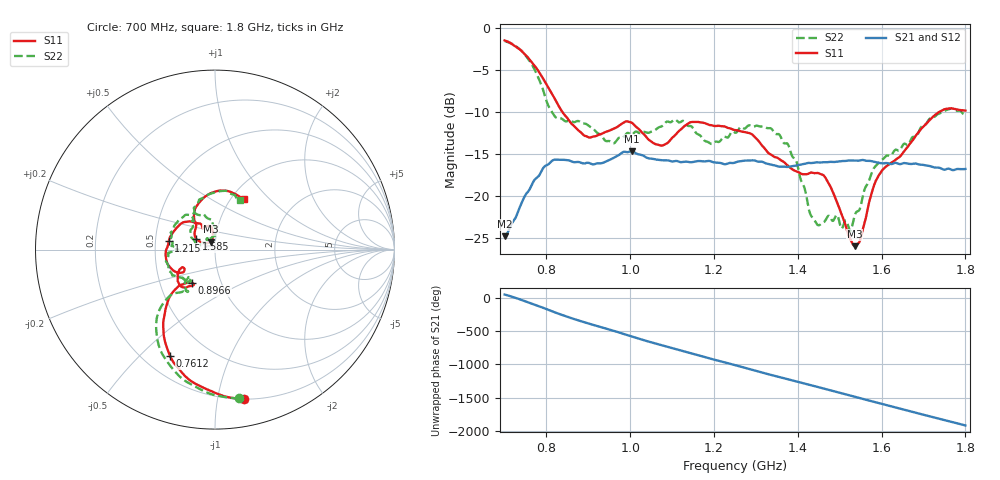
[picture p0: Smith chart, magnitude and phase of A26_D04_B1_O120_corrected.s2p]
! Created with skrf 1.9.0 (http://scikit-rf.org).
# Hz S RI R 50.0
!freq ReS11 ImS11 ReS21 ImS21 ReS12 ImS12 ReS22 ImS22
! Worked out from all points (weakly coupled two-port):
!   1601 points, 700 MHz to 1.8 GHz, reference 50 ohm
!   highest |S21| = -14.64 dB at 1.003 GHz (marker M1); lowest = -24.7 dB at 700 MHz (marker M2)
!   lowest |S11| = -25.9 dB at 1.535 GHz (marker M3), VSWR 1.11, Z = 47.6 + j4.3 ohm
!   |S11| at or under -10 dB: 838.4 MHz to 1.736 GHz (897.9 MHz wide, 69.7 % of centre)
!   |S22| runs from -24.1 to -1.5 dB; largest |S21 - S12| = 0.0033
!   S11 on the Smith chart (normalised r, x): 700 MHz: 0.20, -1.19; 761.2 MHz: 0.31, -0.62; 896.6 MHz: 0.72, -0.28; 1.215 GHz: 0.59, +0.06; 1.585 GHz: 0.80, +0.10; 1.8 GHz: 1.14, +0.72
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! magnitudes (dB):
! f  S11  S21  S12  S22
! 700 MHz  -1.5  -24.7  -24.5  -1.5
! 761.2 MHz  -3.8  -19.0  -18.9  -4.0
! 818.9 MHz  -8.3  -15.6  -15.7  -10.4
! 883.6 MHz  -12.5  -16.0  -15.9  -11.2
! 896.6 MHz  -12.9  -16.0  -16.1  -11.4
! 957.8 MHz  -12.0  -15.5  -15.5  -13.7
! 1.003 GHz  -11.2  -14.6  -14.8  -12.7
! 1.067 GHz  -13.9  -15.7  -15.6  -11.8
! 1.144 GHz  -11.2  -16.0  -15.9  -11.6
! 1.215 GHz  -11.6  -16.0  -16.0  -13.4
! 1.25 GHz  -12.1  -16.0  -15.9  -12.4
! 1.356 GHz  -15.6  -16.5  -16.4  -12.7
! 1.396 GHz  -17.0  -16.3  -16.3  -15.7
! 1.434 GHz  -17.2  -16.0  -16.0  -22.5
! 1.47 GHz  -18.2  -15.9  -15.9  -22.5
! 1.525 GHz  -25.1  -15.7  -15.7  -24.1
! 1.535 GHz  -25.9  -15.7  -15.8  -22.4
! 1.55 GHz  -25.0  -15.7  -15.7  -21.2
! 1.585 GHz  -18.3  -15.9  -15.9  -16.5
! 1.617 GHz  -16.2  -16.1  -16.1  -15.2
! 1.733 GHz  -10.1  -16.6  -16.6  -10.3
! 1.8 GHz  -9.8  -16.7  -16.7  -10.2
